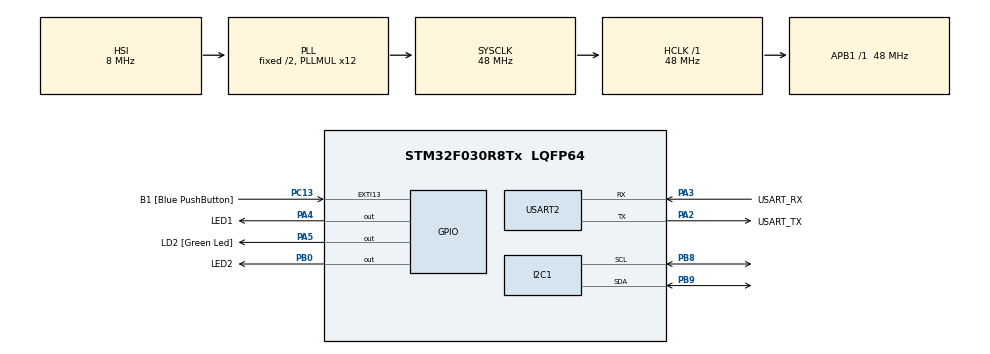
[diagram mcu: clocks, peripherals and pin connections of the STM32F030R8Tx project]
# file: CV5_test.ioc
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Dma.Request0=USART2_RX
Dma.USART2_RX.0.Direction=DMA_PERIPH_TO_MEMORY
Dma.USART2_RX.0.Instance=DMA1_Channel5
Dma.USART2_RX.0.MemDataAlignment=DMA_MDATAALIGN_BYTE
Dma.USART2_RX.0.MemInc=DMA_MINC_ENABLE
Dma.USART2_RX.0.Mode=DMA_CIRCULAR
Dma.USART2_RX.0.PeriphDataAlignment=DMA_PDATAALIGN_BYTE
Dma.USART2_RX.0.PeriphInc=DMA_PINC_DISABLE
Dma.USART2_RX.0.Priority=DMA_PRIORITY_LOW
I2C1.Timing=0x00201D2B
Mcu.Family=STM32F0
Mcu.Name=STM32F030R8Tx
Mcu.Package=LQFP64
NVIC.DMA1_Channel4_5_IRQn=true\:0\:0\:false\:false\:true\:false\:true\:true
PA13.GPIO_Label=TMS
PA13.Mode=Serial_Wire
PA13.Signal=SYS_SWDIO
PA14.GPIO_Label=TCK
PA14.Mode=Serial_Wire
PA14.Signal=SYS_SWCLK
PA2.GPIO_Label=USART_TX
PA2.GPIO_Mode=GPIO_MODE_AF_PP
PA2.GPIO_PuPd=GPIO_NOPULL
PA2.GPIO_Speed=GPIO_SPEED_FREQ_LOW
PA2.Mode=Asynchronous
PA2.Signal=USART2_TX
PA3.GPIO_Label=USART_RX
PA3.GPIO_Mode=GPIO_MODE_AF_PP
PA3.GPIO_PuPd=GPIO_NOPULL
PA3.GPIO_Speed=GPIO_SPEED_FREQ_LOW
PA3.Mode=Asynchronous
PA3.Signal=USART2_RX
PA4.GPIO_Label=LED1
PA4.Signal=GPIO_Output
PA5.GPIO_Label=LD2 [Green Led]
PA5.GPIO_Mode=GPIO_MODE_OUTPUT_PP
PA5.GPIO_PuPd=GPIO_NOPULL
PA5.GPIO_Speed=GPIO_SPEED_FREQ_LOW
PA5.Signal=GPIO_Output
PB0.GPIO_Label=LED2
PB0.Signal=GPIO_Output
PB8.GPIO_Pu=GPIO_NOPULL
PB8.Mode=I2C
PB8.Signal=I2C1_SCL
PB9.GPIO_Pu=GPIO_NOPULL
PB9.Mode=I2C
PB9.Signal=I2C1_SDA
PC13.GPIO_Label=B1 [Blue PushButton]
PC13.GPIO_ModeDefaultEXTI=GPIO_MODE_IT_FALLING
PC13.Signal=GPXTI13
PC14-OSC32_IN.Mode=LSE-External-Oscillator
PC14-OSC32_IN.Signal=RCC_OSC32_IN
PC15-OSC32_OUT.Mode=LSE-External-Oscillator
PC15-OSC32_OUT.Signal=RCC_OSC32_OUT
PF0-OSC_IN.Mode=HSE-External-Clock-Source
PF0-OSC_IN.Signal=RCC_OSC_IN
PF1-OSC_OUT.Signal=RCC_OSC_OUT
ProjectManager.HeapSize=0x200
ProjectManager.StackSize=0x400
ProjectManager.TargetToolchain=STM32CubeIDE
RCC.AHBFreq_Value=48000000
RCC.APB1Freq_Value=48000000
RCC.APB1TimFreq_Value=48000000
RCC.HCLKFreq_Value=48000000
RCC.PLLMUL=RCC_PLL_MUL12
RCC.SYSCLKFreq_VALUE=48000000
RCC.SYSCLKSource=RCC_SYSCLKSOURCE_PLLCLK
USART2.VirtualMode-Asynchronous=VM_ASYNC
board=NUCLEO-F030R8

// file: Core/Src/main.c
/* USER CODE BEGIN Header */
/**
  ******************************************************************************
  * @file           : main.c
  * @brief          : Main program body
  ******************************************************************************
  * @attention
  *
  * Copyright (c) 2025 STMicroelectronics.
  * All rights reserved.
  *
  * This software is licensed under terms that can be found in the LICENSE file
  * in the root directory of this software component.
  * If no LICENSE file comes with this software, it is provided AS-IS.
  *
  ******************************************************************************
  */
/* USER CODE END Header */
#include "main.h"

/* USER CODE BEGIN Includes */
#include <stdio.h>
#include <string.h>
#include <strings.h>   // для strcasecmp
#include <stdlib.h>    // для strtol
/* USER CODE END Includes */

/* USER CODE BEGIN PD */
#define RX_BUFFER_LEN 64
#define  CMD_BUFFER_LEN 256
static uint8_t uart_rx_buf[RX_BUFFER_LEN];
static volatile uint16_t uart_rx_read_ptr = 0;
#define uart_rx_write_ptr (RX_BUFFER_LEN - hdma_usart2_rx.Instance->CNDTR)
#define EEPROM_ADDR 0xA0
#define I2C_MEM_ADDR_SIZE   I2C_MEMADD_SIZE_16BIT
#define EEPROM_SIZE_BYTES   8192     // 24LC64 = 64 kbit = 8 kB, адреса 0x0000..0x1FFF

/* USER CODE END PD */

I2C_HandleTypeDef hi2c1;

UART_HandleTypeDef huart2;
DMA_HandleTypeDef hdma_usart2_rx;

void SystemClock_Config(void);
static void MX_GPIO_Init(void);
static void MX_DMA_Init(void);
static void MX_USART2_UART_Init(void);
static void MX_I2C1_Init(void);
/* USER CODE BEGIN PFP */
static void uart_byte_available(uint8_t c);
static void uart_process_command(const char *cmd);

static HAL_StatusTypeDef eeprom_read(uint16_t addr, uint8_t *data, uint16_t len);
static HAL_StatusTypeDef eeprom_write_byte(uint16_t addr, uint8_t value);
/* USER CODE END PFP */

int main(void)
{

  /* MCU Configuration--------------------------------------------------------*/

  /* Reset of all peripherals, Initializes the Flash interface and the Systick. */
  HAL_Init();

  /* Configure the system clock */
  SystemClock_Config();

  /* Initialize all configured peripherals */
  MX_GPIO_Init();
  MX_DMA_Init();
  MX_USART2_UART_Init();
  MX_I2C1_Init();
  /* USER CODE BEGIN 2 */
  HAL_UART_Receive_DMA(&huart2, uart_rx_buf, RX_BUFFER_LEN); // activation DMA transfer from the UART

  /* USER CODE END 2 */

  /* Infinite loop */
  /* USER CODE BEGIN WHILE */

  while (1)
  {
      /*   //First test
	  uint8_t c;
	  HAL_UART_Receive(&huart2, &c, 1, HAL_MAX_DELAY);
	  HAL_UART_Transmit(&huart2, &c, 1, HAL_MAX_DELAY);*/

	  while (uart_rx_read_ptr != uart_rx_write_ptr) {
		  uint8_t b = uart_rx_buf[uart_rx_read_ptr];
		  if (++uart_rx_read_ptr >= RX_BUFFER_LEN) uart_rx_read_ptr = 0; // increase read pointer
		  uart_byte_available(b); // process every received byte with the RX state machine
	  }

    /* USER CODE END WHILE */

  }
}

void SystemClock_Config(void)
{
  RCC_OscInitTypeDef RCC_OscInitStruct = {0};
  RCC_ClkInitTypeDef RCC_ClkInitStruct = {0};
  RCC_PeriphCLKInitTypeDef PeriphClkInit = {0};

  /** Initializes the RCC Oscillators according to the specified parameters
  * in the RCC_OscInitTypeDef structure.
  */
  RCC_OscInitStruct.OscillatorType = RCC_OSCILLATORTYPE_HSI;
  RCC_OscInitStruct.HSIState = RCC_HSI_ON;
  RCC_OscInitStruct.HSICalibrationValue = RCC_HSICALIBRATION_DEFAULT;
  RCC_OscInitStruct.PLL.PLLState = RCC_PLL_ON;
  RCC_OscInitStruct.PLL.PLLSource = RCC_PLLSOURCE_HSI;
  RCC_OscInitStruct.PLL.PLLMUL = RCC_PLL_MUL12;
  RCC_OscInitStruct.PLL.PREDIV = RCC_PREDIV_DIV1;
  if (HAL_RCC_OscConfig(&RCC_OscInitStruct) != HAL_OK)
  {
    Error_Handler();
  }

  /** Initializes the CPU, AHB and APB buses clocks
  */
  RCC_ClkInitStruct.ClockType = RCC_CLOCKTYPE_HCLK|RCC_CLOCKTYPE_SYSCLK
                              |RCC_CLOCKTYPE_PCLK1;
  RCC_ClkInitStruct.SYSCLKSource = RCC_SYSCLKSOURCE_PLLCLK;
  RCC_ClkInitStruct.AHBCLKDivider = RCC_SYSCLK_DIV1;
  RCC_ClkInitStruct.APB1CLKDivider = RCC_HCLK_DIV1;

  if (HAL_RCC_ClockConfig(&RCC_ClkInitStruct, FLASH_LATENCY_1) != HAL_OK)
  {
    Error_Handler();
  }
  PeriphClkInit.PeriphClockSelection = RCC_PERIPHCLK_I2C1;
  PeriphClkInit.I2c1ClockSelection = RCC_I2C1CLKSOURCE_HSI;
  if (HAL_RCCEx_PeriphCLKConfig(&PeriphClkInit) != HAL_OK)
  {
    Error_Handler();
  }
}

static void MX_I2C1_Init(void)
{

  hi2c1.Instance = I2C1;
  hi2c1.Init.Timing = 0x00201D2B;
  hi2c1.Init.OwnAddress1 = 0;
  hi2c1.Init.AddressingMode = I2C_ADDRESSINGMODE_7BIT;
  hi2c1.Init.DualAddressMode = I2C_DUALADDRESS_DISABLE;
  hi2c1.Init.OwnAddress2 = 0;
  hi2c1.Init.OwnAddress2Masks = I2C_OA2_NOMASK;
  hi2c1.Init.GeneralCallMode = I2C_GENERALCALL_DISABLE;
  hi2c1.Init.NoStretchMode = I2C_NOSTRETCH_DISABLE;
  if (HAL_I2C_Init(&hi2c1) != HAL_OK)
  {
    Error_Handler();
  }

  /** Configure Analogue filter
  */
  if (HAL_I2CEx_ConfigAnalogFilter(&hi2c1, I2C_ANALOGFILTER_ENABLE) != HAL_OK)
  {
    Error_Handler();
  }

  /** Configure Digital filter
  */
  if (HAL_I2CEx_ConfigDigitalFilter(&hi2c1, 0) != HAL_OK)
  {
    Error_Handler();
  }

}

static void MX_USART2_UART_Init(void)
{

  huart2.Instance = USART2;
  huart2.Init.BaudRate = 38400;
  huart2.Init.WordLength = UART_WORDLENGTH_8B;
  huart2.Init.StopBits = UART_STOPBITS_1;
  huart2.Init.Parity = UART_PARITY_NONE;
  huart2.Init.Mode = UART_MODE_TX_RX;
  huart2.Init.HwFlowCtl = UART_HWCONTROL_NONE;
  huart2.Init.OverSampling = UART_OVERSAMPLING_16;
  huart2.Init.OneBitSampling = UART_ONE_BIT_SAMPLE_DISABLE;
  huart2.AdvancedInit.AdvFeatureInit = UART_ADVFEATURE_NO_INIT;
  if (HAL_UART_Init(&huart2) != HAL_OK)
  {
    Error_Handler();
  }

}

static void MX_DMA_Init(void)
{

  /* DMA controller clock enable */
  __HAL_RCC_DMA1_CLK_ENABLE();

  /* DMA interrupt init */
  /* DMA1_Channel4_5_IRQn interrupt configuration */
  HAL_NVIC_SetPriority(DMA1_Channel4_5_IRQn, 0, 0);
  HAL_NVIC_EnableIRQ(DMA1_Channel4_5_IRQn);

}

static void MX_GPIO_Init(void)
{
  GPIO_InitTypeDef GPIO_InitStruct = {0};

  /* GPIO Ports Clock Enable */
  __HAL_RCC_GPIOC_CLK_ENABLE();
  __HAL_RCC_GPIOF_CLK_ENABLE();
  __HAL_RCC_GPIOA_CLK_ENABLE();
  __HAL_RCC_GPIOB_CLK_ENABLE();

  /*Configure GPIO pin Output Level */
  HAL_GPIO_WritePin(GPIOA, LED1_Pin|LD2_Pin, GPIO_PIN_RESET);

  /*Configure GPIO pin Output Level */
  HAL_GPIO_WritePin(LED2_GPIO_Port, LED2_Pin, GPIO_PIN_RESET);

  /*Configure GPIO pin : B1_Pin */
  GPIO_InitStruct.Pin = B1_Pin;
  GPIO_InitStruct.Mode = GPIO_MODE_IT_FALLING;
  GPIO_InitStruct.Pull = GPIO_NOPULL;
  HAL_GPIO_Init(B1_GPIO_Port, &GPIO_InitStruct);

  /*Configure GPIO pins : LED1_Pin LD2_Pin */
  GPIO_InitStruct.Pin = LED1_Pin|LD2_Pin;
  GPIO_InitStruct.Mode = GPIO_MODE_OUTPUT_PP;
  GPIO_InitStruct.Pull = GPIO_NOPULL;
  GPIO_InitStruct.Speed = GPIO_SPEED_FREQ_LOW;
  HAL_GPIO_Init(GPIOA, &GPIO_InitStruct);

  /*Configure GPIO pin : LED2_Pin */
  GPIO_InitStruct.Pin = LED2_Pin;
  GPIO_InitStruct.Mode = GPIO_MODE_OUTPUT_PP;
  GPIO_InitStruct.Pull = GPIO_NOPULL;
  GPIO_InitStruct.Speed = GPIO_SPEED_FREQ_LOW;
  HAL_GPIO_Init(LED2_GPIO_Port, &GPIO_InitStruct);

}

/* USER CODE BEGIN 4 */

static HAL_StatusTypeDef eeprom_read(uint16_t addr, uint8_t *data, uint16_t len)
{
    return HAL_I2C_Mem_Read(&hi2c1, EEPROM_ADDR, addr, I2C_MEM_ADDR_SIZE, data, len, 1000);
}

static HAL_StatusTypeDef eeprom_write_byte(uint16_t addr, uint8_t value)
{
    HAL_StatusTypeDef st = HAL_I2C_Mem_Write(&hi2c1, EEPROM_ADDR, addr, I2C_MEM_ADDR_SIZE, &value, 1, 1000);
    if (st != HAL_OK) return st;

    // ожидание завершения внутренней записи в EEPROM
    while (HAL_I2C_IsDeviceReady(&hi2c1, EEPROM_ADDR, 300, 1000) != HAL_OK) { }
    return HAL_OK;
}

// обработка готовой текстовой команды (пока просто печать)
static void uart_process_command(const char *cmd)
{
    // делаем копию, потому что strtok модифицирует строку
    static char buf[CMD_BUFFER_LEN];
    strncpy(buf, cmd, sizeof(buf));
    buf[sizeof(buf)-1] = '\0';

    char *token = strtok(buf, " ");
    if (!token){
    	printf("ERR token\r\n");
    	return;
    }

    if (strcasecmp(token, "HELLO") == 0) {
        printf("Komunikace OK\r\n");
        return;
    }

    if (strcasecmp(token, "LED1") == 0) {
        token = strtok(NULL, " ");
        if (token && strcasecmp(token, "ON") == 0) {
            HAL_GPIO_WritePin(LED1_GPIO_Port, LED1_Pin, GPIO_PIN_SET);
            printf("LED1 ON\r\n");
        } else if (token && strcasecmp(token, "OFF") == 0) {
            HAL_GPIO_WritePin(GPIOA, GPIO_PIN_4, GPIO_PIN_RESET);
            printf("LED1 OFF\r\n");
        }
        return;
    }

    if (strcasecmp(token, "LED2") == 0) {
        token = strtok(NULL, " ");
        if (token && strcasecmp(token, "ON") == 0) {
            HAL_GPIO_WritePin(GPIOB, GPIO_PIN_0, GPIO_PIN_SET);
            printf("LED2 ON\r\n");
        } else if (token && strcasecmp(token, "OFF") == 0) {
            HAL_GPIO_WritePin(GPIOB, GPIO_PIN_0, GPIO_PIN_RESET);
            printf("LED2 OFF\r\n");
        }
        return;
    }

    if (strcasecmp(token, "STATUS") == 0) {
        GPIO_PinState led1 = HAL_GPIO_ReadPin(GPIOA, GPIO_PIN_4);
        GPIO_PinState led2 = HAL_GPIO_ReadPin(GPIOB, GPIO_PIN_0);
        printf("LED1=%s LED2=%s\r\n",
               (led1 == GPIO_PIN_SET) ? "ON" : "OFF",
               (led2 == GPIO_PIN_SET) ? "ON" : "OFF");
        return;
    }

    if (strcasecmp(token, "READ") == 0) {
        token = strtok(NULL, " ");
        if (!token) { printf("ERR: addr\r\n"); return; }

        uint16_t addr = (uint16_t)strtol(token, NULL, 0); // 2 или 0x0002
        uint8_t  v;
        if (eeprom_read(addr, &v, 1) == HAL_OK) {
            printf("Adresa 0x%04X = 0x%02X\r\n", addr, v);
        } else {
            printf("READ FAIL :(\r\n");
        }
        return;
    }

    if (strcasecmp(token, "WRITE") == 0) {
        char *t_addr = strtok(NULL, " ");
        char *t_val  = strtok(NULL, " ");
        if (!t_addr || !t_val) { printf("ERR: args\r\n"); return; }

        uint16_t addr = (uint16_t)strtol(t_addr, NULL, 0);
        uint8_t  val  = (uint8_t) strtol(t_val,  NULL, 0);

        if (eeprom_write_byte(addr, val) == HAL_OK) {
            printf("OK\r\n");
        } else {
            printf("WRITE FAIL\r\n");
        }
        return;
    }

    if (strcasecmp(token, "DUMP") == 0) {
        uint8_t d[16];
        if (eeprom_read(0x0000, d, sizeof d) == HAL_OK) {
            for (int i = 0; i < 16; ++i){
            	printf("%02X%s", d[i], (i==7 || i==15) ? "\r\n" : " ");
            }
        } else {
            printf("DUMP FAIL\r\n");
        }
        return;
    }

    if (strcasecmp(token, "rm") == 0) {
        char *opt = strtok(NULL, " ");
        if (!(opt && strcasecmp(opt, "-rf") == 0)) {
            printf("may u think rm -rf\r\n");
            return;
        }

        uint16_t errors = 0;
        //EEPROM_SIZE_BYTES
        for (uint16_t addr = 0; addr < 16; ++addr) {
//        	uint8_t val = 0xFF;
            if (eeprom_write_byte(addr, 0xFF) != HAL_OK) {
                printf("WARN: fail at 0x%04X\r\n", addr);
                errors++;
            }

        }

        if (errors == 0)
            printf("\r\nErase complete: OK\r\n");
        else
            printf("\r\nErase done with %u errors\r\n", errors);
        return;
    }

    printf("Neznamy prikaz\r\n");
}
// складываем печатаемые символы в буфер, по \n или \r — вызываем обработчик
static void uart_byte_available(uint8_t c)
{
    static uint16_t cnt = 0;
    static char data[CMD_BUFFER_LEN];

    if (c >= 32 && c <= 126) {                // печатаемые ASCII
        if (cnt < CMD_BUFFER_LEN - 1) {
            data[cnt++] = (char)c;
        }
    }

    if ((c == '\n' || c == '\r') && cnt > 0) {
        data[cnt] = '\0';
        uart_process_command(data);
        cnt = 0;
    }
}

/* Перенаправление printf на UART2 */
int _write(int file, const char *buf, int n)
{
    (void)file;
    HAL_UART_Transmit(&huart2, (uint8_t*)buf, n, HAL_MAX_DELAY);
    return n;
}

/* USER CODE END 4 */

void Error_Handler(void)
{
  __disable_irq();
  while (1)
  {
  }
}
